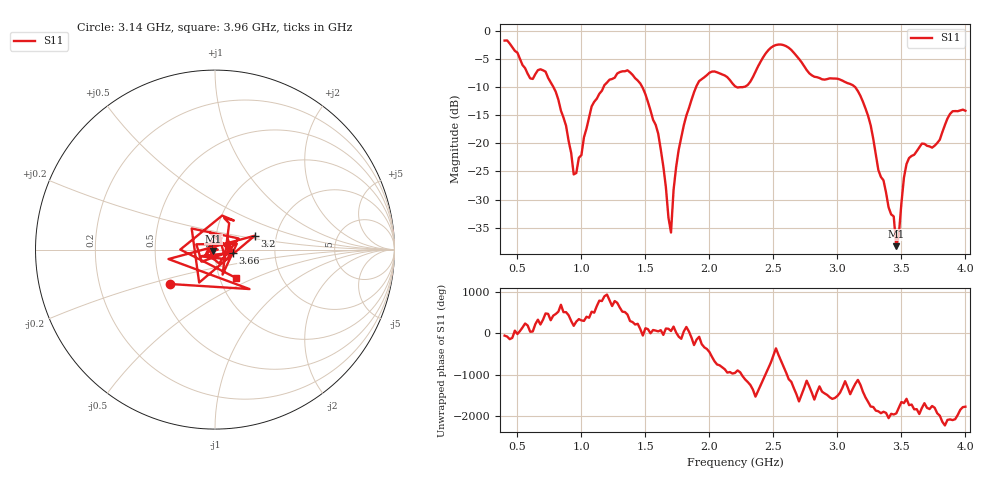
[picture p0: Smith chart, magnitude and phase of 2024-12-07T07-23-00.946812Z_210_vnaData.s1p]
!Created with skrf (http://scikit-rf.org).
# Hz S RI R 50.0
!freq ReS11 ImS11
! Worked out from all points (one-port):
!   181 points, 400 MHz to 4 GHz, reference 50 ohm
!   lowest |S11| = -38.3 dB at 3.46 GHz (marker M1), VSWR 1.02, Z = 49.1 - j0.753 ohm
!   |S11| at or under -10 dB: 781.8 MHz to 1.173 GHz (390.7 MHz wide, 40 % of centre); 1.476 GHz to 1.896 GHz (419.4 MHz wide, 24.9 % of centre); 3.139 GHz to end of sweep (the widest 3 of 4)
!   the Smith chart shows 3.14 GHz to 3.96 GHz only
!   S11 on the Smith chart (normalised r, x): 3.14 GHz: 0.56, -0.24; 3.2 GHz: 1.54, +0.25; 3.66 GHz: 1.22, -0.04; 3.96 GHz: 1.19, -0.39
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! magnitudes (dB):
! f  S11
! 400 MHz  -1.7
! 600 MHz  -8.4
! 720 MHz  -7.2
! 860 MHz  -15.4
! 960 MHz  -25.3
! 1.08 GHz  -13.4
! 1.3 GHz  -7.3
! 1.46 GHz  -9.3
! 1.58 GHz  -16.7
! 1.7 GHz  -35.9
! 1.72 GHz  -28.3
! 1.76 GHz  -21.1
! 1.92 GHz  -8.9
! 2.2 GHz  -9.8
! 2.5 GHz  -2.7
! 2.66 GHz  -3.9
! 2.82 GHz  -8.1
! 3.1 GHz  -9.4
! 3.14 GHz  -10.0
! 3.2 GHz  -12.6
! 3.44 GHz  -33.0
! 3.46 GHz  -38.3
! 3.52 GHz  -26.1
! 3.56 GHz  -22.6
! 3.66 GHz  -20.0
! 3.76 GHz  -20.4
! 3.96 GHz  -14.1
! 4 GHz  -14.2
